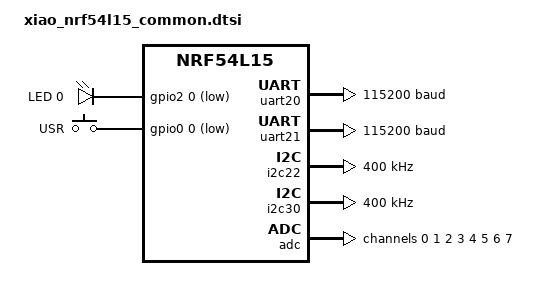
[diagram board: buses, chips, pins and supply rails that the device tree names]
/*
 * SPDX-License-Identifier: Apache-2.0
 */

#include "xiao_nrf54l15-pinctrl.dtsi"
#include <zephyr/dt-bindings/sensor/lsm6dso.h>

/ {
	leds {
		compatible = "gpio-leds";

		led0: led_0 {
			gpios = <&gpio2 0 GPIO_ACTIVE_LOW>;
			label = "LED 0";
		};
	};

	buttons: buttons {
		compatible = "gpio-keys";

		usr_btn: usr-btn {
			gpios = <&gpio0 0 (GPIO_PULL_UP | GPIO_ACTIVE_LOW)>;
			label = "USR";
			zephyr,code = <INPUT_KEY_ENTER>;
		};
	};

	aliases {
		led0 = &led0;
		buttons = &buttons;
		dmic20 = &pdm20;
		sw0 = &usr_btn;
		watchdog0 = &wdt31;
	};
};

&uart20 {
	current-speed = <115200>;
	pinctrl-0 = <&uart20_default>;
	pinctrl-1 = <&uart20_sleep>;
	pinctrl-names = "default", "sleep";
};

&uart21 {
	current-speed = <115200>;
	pinctrl-0 = <&uart21_default>;
	pinctrl-1 = <&uart21_sleep>;
	pinctrl-names = "default", "sleep";
};

&i2c22 {
	pinctrl-0 = <&i2c22_default>;
	pinctrl-1 = <&i2c22_sleep>;
	pinctrl-names = "default", "sleep";
	clock-frequency = <400000>;
};

&i2c30 {
	pinctrl-0 = <&i2c30_default>;
	pinctrl-1 = <&i2c30_sleep>;
	pinctrl-names = "default", "sleep";
	clock-frequency = <400000>;
};

&spi00 {
	pinctrl-0 = <&spi00_default>;
	pinctrl-1 = <&spi00_sleep>;
	pinctrl-names = "default", "sleep";
};

&spi22 {
	pinctrl-0 = <&spi22_default>;
	pinctrl-1 = <&spi22_sleep>;
	pinctrl-names = "default", "sleep";
};

&pdm20 {
	pinctrl-0 = <&pdm20_default>;
	pinctrl-names = "default";
	clock-source = "PCLK32M";
};

&adc {
	#address-cells = <1>;
	#size-cells = <0>;

	channel@0 {
		reg = <0>;
		zephyr,gain = "ADC_GAIN_1_4";
		zephyr,reference = "ADC_REF_INTERNAL";
		zephyr,acquisition-time = <ADC_ACQ_TIME_DEFAULT>;
		zephyr,input-positive = <NRF_SAADC_AIN0>;
		zephyr,resolution = <12>;
		zephyr,oversampling = <8>;
	};

	channel@1 {
		reg = <1>;
		zephyr,gain = "ADC_GAIN_1_4";
		zephyr,reference = "ADC_REF_INTERNAL";
		zephyr,acquisition-time = <ADC_ACQ_TIME_DEFAULT>;
		zephyr,input-positive = <NRF_SAADC_AIN1>;
		zephyr,resolution = <12>;
		zephyr,oversampling = <8>;
	};

	channel@2 {
		reg = <2>;
		zephyr,gain = "ADC_GAIN_1_4";
		zephyr,reference = "ADC_REF_INTERNAL";
		zephyr,acquisition-time = <ADC_ACQ_TIME_DEFAULT>;
		zephyr,input-positive = <NRF_SAADC_AIN2>;
		zephyr,resolution = <12>;
		zephyr,oversampling = <8>;
	};

	channel@3 {
		reg = <3>;
		zephyr,gain = "ADC_GAIN_1_4";
		zephyr,reference = "ADC_REF_INTERNAL";
		zephyr,acquisition-time = <ADC_ACQ_TIME_DEFAULT>;
		zephyr,input-positive = <NRF_SAADC_AIN3>;
		zephyr,resolution = <12>;
		zephyr,oversampling = <8>;
	};

	channel@4 {
		reg = <4>;
		zephyr,gain = "ADC_GAIN_1_4";
		zephyr,reference = "ADC_REF_INTERNAL";
		zephyr,acquisition-time = <ADC_ACQ_TIME_DEFAULT>;
		zephyr,input-positive = <NRF_SAADC_AIN4>;
		zephyr,resolution = <12>;
		zephyr,oversampling = <8>;
	};

	channel@5 {
		reg = <5>;
		zephyr,gain = "ADC_GAIN_1_4";
		zephyr,reference = "ADC_REF_INTERNAL";
		zephyr,acquisition-time = <ADC_ACQ_TIME_DEFAULT>;
		zephyr,input-positive = <NRF_SAADC_AIN5>;
		zephyr,resolution = <12>;
		zephyr,oversampling = <8>;
	};

	channel@6 {
		reg = <6>;
		zephyr,gain = "ADC_GAIN_1_4";
		zephyr,reference = "ADC_REF_INTERNAL";
		zephyr,acquisition-time = <ADC_ACQ_TIME_DEFAULT>;
		zephyr,input-positive = <NRF_SAADC_AIN6>;
		zephyr,resolution = <12>;
		zephyr,oversampling = <8>;
	};

	channel@7 {
		reg = <7>;
		zephyr,gain = "ADC_GAIN_1_4";
		zephyr,reference = "ADC_REF_INTERNAL";
		zephyr,acquisition-time = <ADC_ACQ_TIME_DEFAULT>;
		zephyr,input-positive = <NRF_SAADC_AIN7>;
		zephyr,resolution = <12>;
		zephyr,oversampling = <8>;
	};
};
